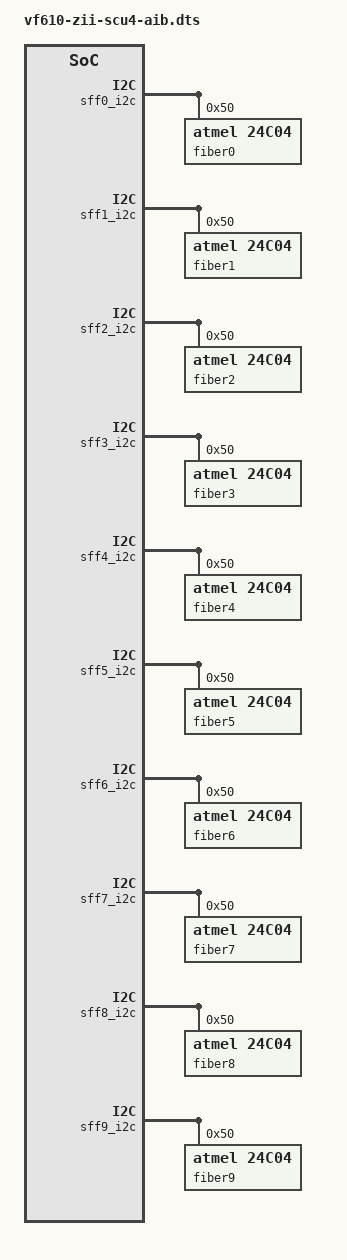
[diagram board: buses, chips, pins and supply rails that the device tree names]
// SPDX-License-Identifier: (GPL-2.0+ OR MIT)
//
// Copyright (C) 2016-2018 Zodiac Inflight Innovations

#include <arm/nxp/vf/vf610-zii-scu4-aib.dts>

#include "vf610-zii-dev.dtsi"

/ {
	barebox,disable-deep-probe;

	aliases {
		/*
		 * NVMEM device corresponding to EEPROM attached to
                 * the switch shares DT node with it, so we use that
                 * fact to create a desirable naming
		 */
		switch0-eeprom = &switch0;
		switch1-eeprom = &switch1;
		switch2-eeprom = &switch2;
		switch3-eeprom = &switch3;
		fiber-eeprom0 = &fiber_eeprom0;
		fiber-eeprom1 = &fiber_eeprom1;
		fiber-eeprom2 = &fiber_eeprom2;
		fiber-eeprom3 = &fiber_eeprom3;
		fiber-eeprom4 = &fiber_eeprom4;
		fiber-eeprom5 = &fiber_eeprom5;
		fiber-eeprom6 = &fiber_eeprom6;
		fiber-eeprom7 = &fiber_eeprom7;
		fiber-eeprom8 = &fiber_eeprom8;
		fiber-eeprom9 = &fiber_eeprom9;
	};
};

&sff0_i2c {
	fiber_eeprom0: eeprom@50 {
		compatible = "atmel,24c04";
		reg = <0x50>;
		label = "fiber0";
	};
};

&sff1_i2c {
	fiber_eeprom1: eeprom@50 {
		compatible = "atmel,24c04";
		reg = <0x50>;
		label = "fiber1";
	};
};

&sff2_i2c {
	fiber_eeprom2: eeprom@50 {
		compatible = "atmel,24c04";
		reg = <0x50>;
		label = "fiber2";
	};
};

&sff3_i2c {
	fiber_eeprom3: eeprom@50 {
		compatible = "atmel,24c04";
		reg = <0x50>;
		label = "fiber3";
	};
};

&sff4_i2c {
	fiber_eeprom4: eeprom@50 {
		compatible = "atmel,24c04";
		reg = <0x50>;
		label = "fiber4";
	};
};

&sff5_i2c {
	fiber_eeprom5: eeprom@50 {
		compatible = "atmel,24c04";
		reg = <0x50>;
		label = "fiber5";
	};
};

&sff6_i2c {
	fiber_eeprom6: eeprom@50 {
		compatible = "atmel,24c04";
		reg = <0x50>;
		label = "fiber6";
	};
};

&sff7_i2c {
	fiber_eeprom7: eeprom@50 {
		compatible = "atmel,24c04";
		reg = <0x50>;
		label = "fiber7";
	};
};

&sff8_i2c {
	fiber_eeprom8: eeprom@50 {
		compatible = "atmel,24c04";
		reg = <0x50>;
		label = "fiber8";
	};
};

&sff9_i2c {
	fiber_eeprom9: eeprom@50 {
		compatible = "atmel,24c04";
		reg = <0x50>;
		label = "fiber9";
	};
};
